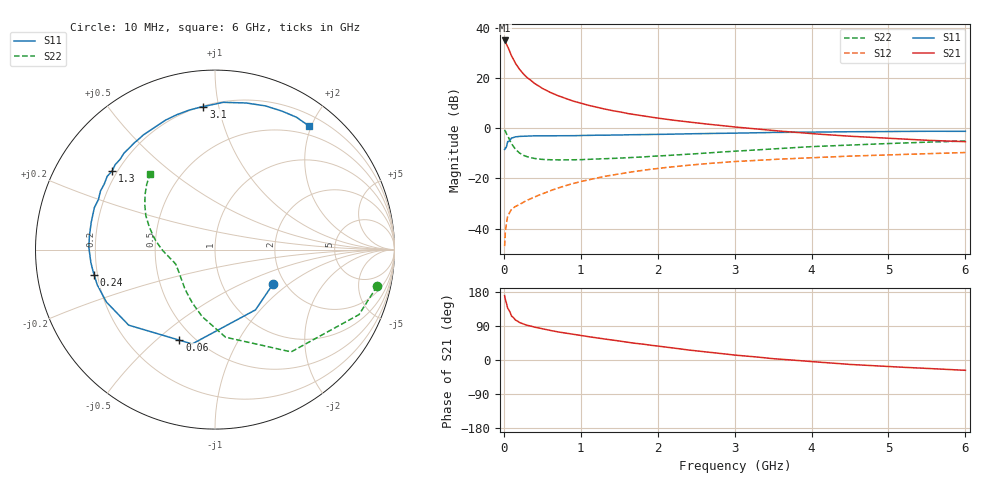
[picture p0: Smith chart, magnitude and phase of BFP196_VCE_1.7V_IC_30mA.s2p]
! Infineon Technologies  Discrete & RF Semiconductors
! BFP196
! VCE = 1.7 V,  IC =  30mA
! Common Emitter S-Parameters:  Jan 2016
# GHz  S  MA  R  50
!  f  S11  S21  S12  S22
! GHz  MAG  ANG  MAG  ANG  MAG  ANG  MAG  ANG
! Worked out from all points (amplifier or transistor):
!   210 points, 10 MHz to 6 GHz, reference 50 ohm
!   highest |S21| = 34.9 dB at 10 MHz (marker M1)
!   |S21| within 3 dB of that: start of sweep to 58.1 MHz
!   unconditionally stable (mu >= 1): 534.6 MHz to 4.361 GHz
!   at 185 MHz: K = 0.60, MSG = 27.5 dB, |S12| = -30.6 dB
!   at 1.52 GHz: K = 1.10, MAG = 10.3 dB, |S12| = -18.1 dB
!   at 6 GHz: K = 0.99, MSG = 2.2 dB, |S12| = -9.7 dB
!   S11 on the Smith chart (normalised r, x): 10 MHz: 1.74, -0.77; 60 MHz: 0.42, -0.60; 240 MHz: 0.19, -0.10; 1.3 GHz: 0.18, +0.33; 3.1 GHz: 0.20, +0.90; 6 GHz: 0.36, +1.96
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0.01  0.376 -30.6  55.41 170.0  0.0045 81.8  0.9259 -12.7
0.02  0.4046 -56.1  52.29 159.3  0.0088 73.8  0.8803 -24.3
0.05  0.5409 -103.6  41.83 136.6  0.0178 55.6  0.7105 -53.3
0.06  0.5422 -111.4  38.63 133.8  0.019 53.0  0.6556 -57.6
0.1  0.6391 -138.8  27.32 116.1  0.0243 45.2  0.4917 -83.1
0.15  0.6721 -154.3  19.49 105.7  0.0277 43.0  0.3818 -100.5
0.2  0.6847 -163.3  15.05 99.3  0.0301 44.6  0.3239 -112.8
0.24  0.6883 -168.3  12.69 95.9  0.0327 45.9  0.2959 -120.2
0.26  0.6907 -170.5  11.72 94.3  0.034 46.8  0.2859 -123.5
0.3  0.6953 -174.1  10.19 91.7  0.0366 49.0  0.2716 -128.8
0.4  0.7032 178.9  7.728 86.6  0.0427 52.5  0.2494 -139.1
0.5  0.704 173.6  6.18 82.3  0.0495 54.8  0.239 -145.9
0.6  0.706 168.3  5.165 78.1  0.0568 56.5  0.2349 -150.7
0.7  0.7082 164.2  4.443 74.2  0.0639 57.3  0.2336 -154.2
0.9  0.7069 156.8  3.459 67.9  0.0792 57.5  0.2335 -159.6
1.02  0.7166 152.1  3.069 64.1  0.088 57.2  0.237 -161.7
1.3  0.721 142.5  2.417 55.5  0.1095 54.8  0.2453 -166.4
2.02  0.7538 121.4  1.569 36.3  0.1595 46.5  0.2801 -176.4
3.1  0.7996 94.6  1.022 11.3  0.2208 31.8  0.3549 166.9
4.1  0.8367 76.5  0.759 -5.7  0.2622 19.5  0.4353 152.6
5.1  0.8582 63.0  0.618 -18.3  0.2978 8.3  0.5004 140.9
6  0.8653 52.8  0.538 -27.2  0.3277 -1.6  0.5548 130.7
